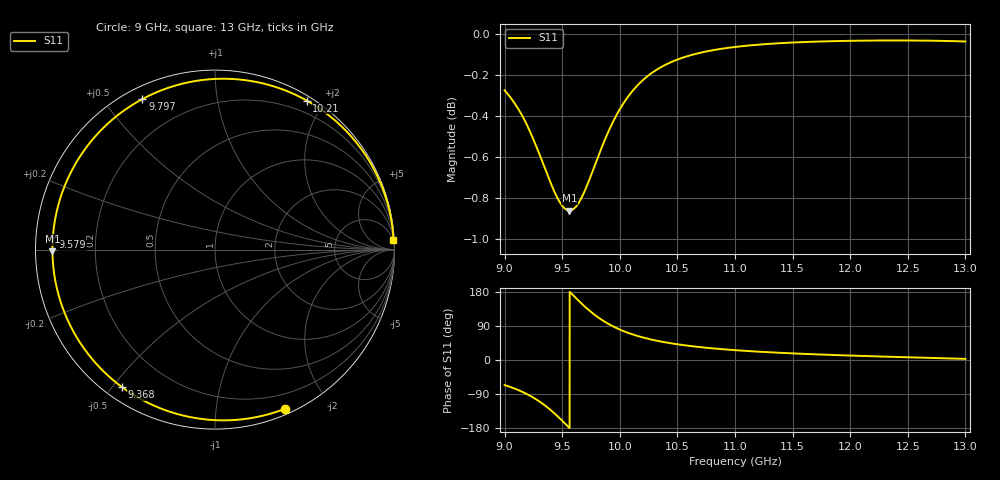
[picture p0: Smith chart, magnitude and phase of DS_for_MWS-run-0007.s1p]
! TOUCHSTONE file generated by CST DESIGN STUDIO
! Date and time: Tue Feb  4 13:32:36 2025
! Project name: C:\Work\MatlabApps\UnitCellOptimizationMatlab\CST\unitcell.cst
! Tree item: Tasks\Sweep1\SPara1\S-Parameters
! Header version: 2024
! Port assignment regex: !\s*Touchstone port\s*([0-9]+)\s*=\s*(CST MWS port|CST DES external port|CST DES block port)\s*(.+)\s* \(\"(.*)\"\)(\s*mode\s*([0-9]+))?.*
! Touchstone port assignment:
! Touchstone port 1 = CST DES external port 1 ("")
# GHz S MA R 50
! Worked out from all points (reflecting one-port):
!   4001 points, 9 GHz to 13 GHz, reference 50 ohm
!   lowest |S11| = -0.9 dB at 9.563 GHz (marker M1), VSWR 20.23, Z = 2.47 - j0.242 ohm
!   phase of S11 starts at -66 deg and turns -291 deg over the sweep
!   S11 on the Smith chart (normalised r, x): 9 GHz: 0.05, -1.53; 9.368 GHz: 0.05, -0.53; 9.579 GHz: 0.05, +0.04; 9.797 GHz: 0.05, +0.63; 10.21 GHz: 0.05, +1.79; 13 GHz: 3, +38
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9  0.9688 -66.2
9.041  0.9657 -70.3
9.107  0.9599 -77.9
9.22  0.9468 -94.2
9.298  0.9355 -108.6
9.368  0.9247 -124.2
9.432  0.9154 -140.7
9.5  0.9082 -160.2
9.532  0.9064 -169.9
9.563  0.9058 -179.4
9.579  0.906 175.6
9.634  0.9089 158.9
9.695  0.9157 141.3
9.746  0.9231 127.9
9.797  0.9312 115.8
9.841  0.938 106.4
9.888  0.9449 97.6
10  0.9586 80.3
10.102  0.9679 68.4
10.214  0.9751 58.4
10.346  0.9811 49.4
10.5  0.9857 41.4
10.721  0.9897 33.2
11  0.9926 25.9
11.5  0.9951 17.4
12  0.9961 11.7
12.5  0.9962 7.2
13  0.9957 3.0
